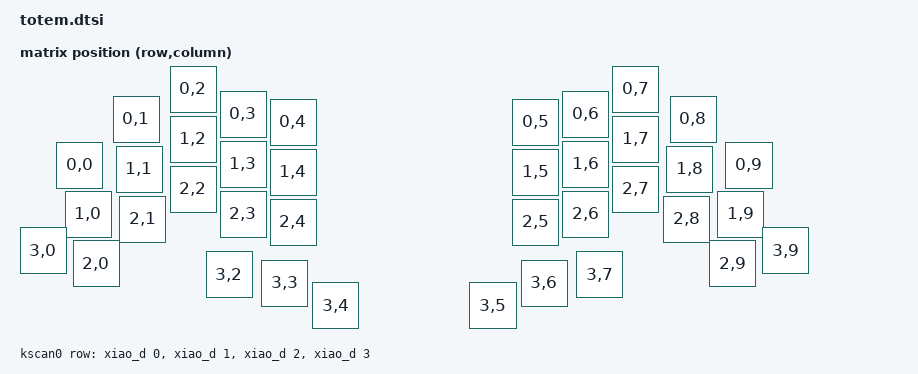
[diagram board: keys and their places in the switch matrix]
/*
 * Copyright (c) 2022 The ZMK Contributors
 *
 * SPDX-License-Identifier: MIT
 */

#include <dt-bindings/zmk/matrix_transform.h>
#include <physical_layouts.dtsi>

/ {
    chosen {
        zmk,kscan = &kscan0;
        zmk,matrix_transform = &default_transform;
        zmk,physical_layout = &physical_layout;
    };

    physical_layout: physical_layout {
        compatible = "zmk,physical-layout";
        display-name = "Default";

        transform = <&default_transform>;

        keys  //                     w   h    x    y     rot    rx    ry
            = <&key_physical_attrs 100 100   73  152       0     0     0>
            , <&key_physical_attrs 100 100  186   60       0     0     0>
            , <&key_physical_attrs 100 100  300    0       0     0     0>
            , <&key_physical_attrs 100 100  400   50       0     0     0>
            , <&key_physical_attrs 100 100  500   66       0     0     0>
            , <&key_physical_attrs 100 100  985   66       0     0     0>
            , <&key_physical_attrs 100 100 1085   50       0     0     0>
            , <&key_physical_attrs 100 100 1185    0       0     0     0>
            , <&key_physical_attrs 100 100 1300   60       0     0     0>
            , <&key_physical_attrs 100 100 1412  152       0     0     0>
            , <&key_physical_attrs 100 100   90  250       0     0     0>
            , <&key_physical_attrs 100 100  192  160       0     0     0>
            , <&key_physical_attrs 100 100  300  100       0     0     0>
            , <&key_physical_attrs 100 100  400  150       0     0     0>
            , <&key_physical_attrs 100 100  500  166       0     0     0>
            , <&key_physical_attrs 100 100  985  166       0     0     0>
            , <&key_physical_attrs 100 100 1085  150       0     0     0>
            , <&key_physical_attrs 100 100 1185  100       0     0     0>
            , <&key_physical_attrs 100 100 1293  160       0     0     0>
            , <&key_physical_attrs 100 100 1395  250       0     0     0>
            , <&key_physical_attrs 100 100    0  323       0     0     0>
            , <&key_physical_attrs 100 100  106  349       0     0     0>
            , <&key_physical_attrs 100 100  199  260       0     0     0>
            , <&key_physical_attrs 100 100  300  200       0     0     0>
            , <&key_physical_attrs 100 100  400  250       0     0     0>
            , <&key_physical_attrs 100 100  500  266       0     0     0>
            , <&key_physical_attrs 100 100  985  266       0     0     0>
            , <&key_physical_attrs 100 100 1085  250       0     0     0>
            , <&key_physical_attrs 100 100 1185  200       0     0     0>
            , <&key_physical_attrs 100 100 1287  260       0     0     0>
            , <&key_physical_attrs 100 100 1379  349       0     0     0>
            , <&key_physical_attrs 100 100 1485  323       0     0     0>
            , <&key_physical_attrs 100 100  372  371       0     0     0>
            , <&key_physical_attrs 100 100  483  388       0     0     0>
            , <&key_physical_attrs 100 100  585  433       0     0     0>
            , <&key_physical_attrs 100 100  900  433       0     0     0>
            , <&key_physical_attrs 100 100 1002  388       0     0     0>
            , <&key_physical_attrs 100 100 1113  371       0     0     0>
            ;
    };

    default_transform: keymap_transform_0 {
        compatible = "zmk,matrix-transform";
        columns = <10>;
        rows = <4>;
//             | SW01  | SW02  | SW03  | SW04  | SW05  |  | SW05  | SW04  | SW03  | SW02  | SW01  |
//             | SW06  | SW07  | SW08  | SW09  | SW10  |  | SW10  | SW09  | SW08  | SW07  | SW06  |
//      | SW16 | SW11  | SW12  | SW13  | SW14  | SW15  |  | SW15  | SW14  | SW13  | SW12  | SW11  | SW16  |
//                             | SW17  | SW18  | SW19  |  | SW19  | SW18  | SW17  |
        map = <
                RC(0,0) RC(0,1) RC(0,2) RC(0,3) RC(0,4)    RC(0,5) RC(0,6) RC(0,7) RC(0,8) RC(0,9)
                RC(1,0) RC(1,1) RC(1,2) RC(1,3) RC(1,4)    RC(1,5) RC(1,6) RC(1,7) RC(1,8) RC(1,9)
        RC(3,0) RC(2,0) RC(2,1) RC(2,2) RC(2,3) RC(2,4)    RC(2,5) RC(2,6) RC(2,7) RC(2,8) RC(2,9) RC(3,9)
                                RC(3,2) RC(3,3) RC(3,4)    RC(3,5) RC(3,6) RC(3,7)
        >;
    };

    kscan0: kscan {
        compatible = "zmk,kscan-gpio-matrix";
        diode-direction = "col2row";
        wakeup-source;

        row-gpios
            = <&xiao_d 0 (GPIO_ACTIVE_HIGH | GPIO_PULL_DOWN)>
            , <&xiao_d 1 (GPIO_ACTIVE_HIGH | GPIO_PULL_DOWN)>
            , <&xiao_d 2 (GPIO_ACTIVE_HIGH | GPIO_PULL_DOWN)>
            , <&xiao_d 3 (GPIO_ACTIVE_HIGH | GPIO_PULL_DOWN)>
            ;
    };
};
